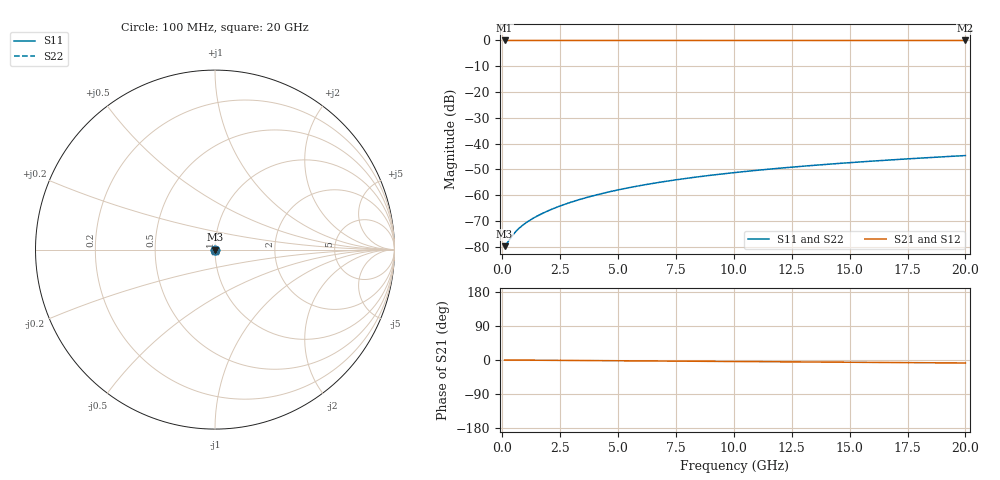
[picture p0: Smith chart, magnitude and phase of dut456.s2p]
! Touchstone file exported from HFSS 2026.1.0
!  File:  C:/ffzhzh/LocalFiles/Ansys_Project_Files/temp_train_TSV_456_1783021880_53980.aedt
!  Generated:  03:52:51 AM Jul  3, 2026
!  Design:  TSV
!  Project:  temp_train_TSV_456_1783021880_53980
! Variables:
!  h_bsmrdl = 2um
!  h_ox = 20um
!  h_rdl = 5um
!  h_sub = 79.14um
!  h_tmrdl = 5um
!  h_tsv = 79.14um
!  h_via = 3um
!  l_bsmrdl = 300um
!  l_sub = 423.14um
!  l_tmrdl = 200um
!  m_sub = 200um
!  pitch = 44.51um
!  r_tsv = 11.57um
!  s_tmrdl = 10um
!  w_bsmrdl = 18um
!  w_sub = 500um
!  w_tmrdl = 12um
!  x_tsv_center1 = 206um
!  x_tsv_center2 = 524um
!  x_tsv_center3 = 736um
!  x_tsv_center4 = 1054um
!  x_tsv_center5 = 1266um
!  x_tsv_center6 = 1584um
# GHz S MA R 50.000000
! Terminal data exported
! Port[1] = TSV1_1_T1
! Port[2] = TSV1_1_T2
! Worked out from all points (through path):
!   200 points, 100 MHz to 20 GHz, reference 50 ohm
!   highest |S21| = 0.00 dB at 100 MHz (marker M1); lowest = 0.0 dB at 20 GHz (marker M2)
!   group delay of S21, straight-line fit = 1.1 ps
!   lowest |S11| = -79.7 dB at 100 MHz (marker M3), VSWR 1.00, Z = 50 + j0.00133 ohm
!   |S11| at or under -10 dB: start of sweep to end of sweep
!   |S22| runs from -79.7 to -44.6 dB; largest |S21 - S12| = 3.8e-15
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0.1  0.0001034 7.4  0.9999 -0.0  0.9999 -0.0  0.0001034 7.4
! Gamma 0 0 0 0
! Port Impedance 50 0 50 0
0.2  0.0001173 11.6  0.9999 -0.1  0.9999 -0.1  0.0001173 11.6
0.4  0.0001578 10.0  0.9998 -0.2  0.9998 -0.2  0.0001578 10.0
0.6  0.0002022 2.1  0.9998 -0.2  0.9998 -0.2  0.0002022 2.1
0.7  0.0002242 -2.4  0.9998 -0.3  0.9998 -0.3  0.0002242 -2.4
0.9  0.0002672 -11.1  0.9997 -0.4  0.9997 -0.4  0.0002672 -11.1
1.2  0.0003308 -22.3  0.9997 -0.5  0.9997 -0.5  0.0003308 -22.3
1.4  0.0003735 -28.4  0.9997 -0.6  0.9997 -0.6  0.0003735 -28.4
1.7  0.0004388 -35.8  0.9996 -0.7  0.9996 -0.7  0.0004388 -35.8
2.2  0.0005519 -44.7  0.9996 -0.9  0.9996 -0.9  0.0005519 -44.7
2.8  0.0006947 -51.9  0.9996 -1.1  0.9996 -1.1  0.0006947 -51.9
3.5  0.0008705 -57.5  0.9995 -1.4  0.9995 -1.4  0.0008705 -57.5
4.2  0.001055 -61.5  0.9995 -1.7  0.9995 -1.7  0.001055 -61.5
5  0.001273 -64.9  0.9994 -2.0  0.9994 -2.0  0.001273 -64.9
5.9  0.001528 -67.9  0.9994 -2.3  0.9994 -2.3  0.001528 -67.9
6.8  0.001789 -70.3  0.9993 -2.7  0.9993 -2.7  0.001789 -70.3
8.3  0.002234 -73.5  0.9992 -3.3  0.9992 -3.3  0.002234 -73.5
10.1  0.002777 -76.6  0.9992 -4.0  0.9992 -4.0  0.002777 -76.6
11.7  0.003266 -78.8  0.9991 -4.6  0.9991 -4.6  0.003266 -78.8
13.4  0.003791 -80.8  0.999 -5.3  0.999 -5.3  0.003791 -80.8
16.7  0.004827 -83.9  0.9989 -6.6  0.9989 -6.6  0.004827 -83.9
20  0.005888 -86.4  0.9988 -7.9  0.9988 -7.9  0.005888 -86.4
